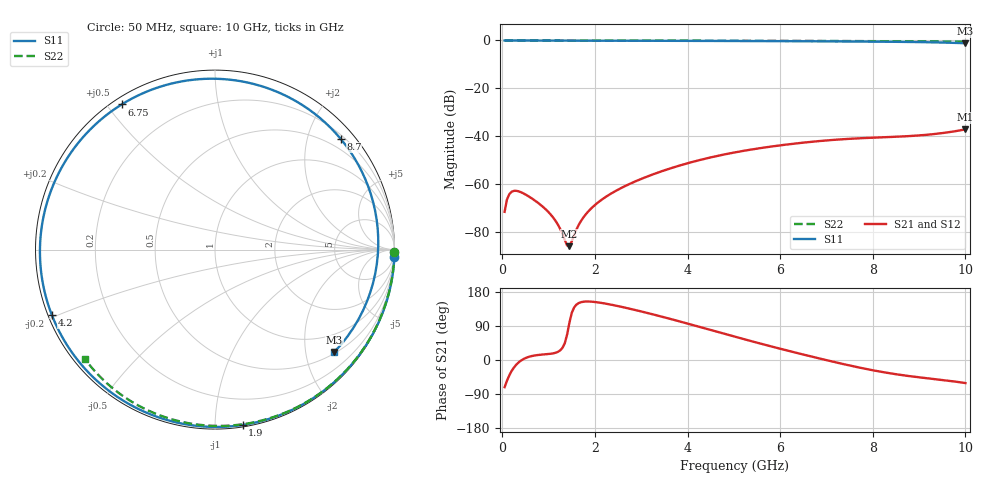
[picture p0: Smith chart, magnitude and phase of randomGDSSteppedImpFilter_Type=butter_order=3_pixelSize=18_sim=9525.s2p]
! freq	dB(S11)	phase(S11)	dB(S12)	phase(S12)
!  dB(S21)	phase(S21)	dB(S22)	phase(S22)
!S-par simulation data
#  GHz  S  DB  R 50
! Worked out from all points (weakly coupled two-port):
!   200 points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, 50 MHz to 10 GHz, reference 50 ohm
!   highest |S21| = -37.16 dB at 10 GHz (marker M1); lowest = -85.9 dB at 1.45 GHz (marker M2)
!   lowest |S11| = -1.1 dB at 10 GHz (marker M3), VSWR 15.16, Z = 26.5 - j130 ohm
!   |S11| at or under -10 dB: nowhere
!   |S22| runs from -0.5 to 0.0 dB; largest |S21 - S12| = 0
!   S11 on the Smith chart (normalised r, x): 50 MHz: 0, -50; 1.9 GHz: 0.01, -1.17; 4.2 GHz: 0.01, -0.19; 6.75 GHz: 0.03, +0.55; 8.7 GHz: 0.27, +2.63; 10 GHz: 0.53, -2.61
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0.05  -0.00 -2.3  -71.59 -71.6  -71.59 -71.6  -0.00 -0.8
0.1  -0.00 -4.6  -66.48 -54.9  -66.48 -54.9  -0.00 -1.6
0.15  -0.00 -6.8  -64.25 -40.8  -64.25 -40.8  -0.00 -2.4
0.35  -0.01 -15.9  -63.02 -6.6  -63.02 -6.6  -0.01 -5.7
0.9  -0.05 -40.2  -69.89 14.7  -69.89 14.7  -0.02 -14.5
1.3  -0.07 -57.1  -80.89 32.1  -80.89 32.1  -0.03 -20.9
1.45  -0.08 -63.3  -85.93 98.8  -85.93 98.8  -0.03 -23.2
1.6  -0.08 -69.3  -79.01 146.1  -79.01 146.1  -0.03 -25.6
1.75  -0.09 -75.2  -73.97 153.8  -73.97 153.8  -0.04 -27.9
1.9  -0.10 -81.0  -70.55 154.2  -70.55 154.2  -0.04 -30.3
2.5  -0.12 -103.1  -62.32 142.2  -62.32 142.2  -0.05 -39.6
3.4  -0.15 -133.3  -54.92 115.8  -54.92 115.8  -0.07 -53.1
4.2  -0.18 -158.1  -50.27 89.4  -50.27 89.4  -0.09 -64.8
5.05  -0.22 176.5  -46.66 60.5  -46.66 60.5  -0.12 -76.8
5.85  -0.27 152.1  -44.21 34.5  -44.21 34.5  -0.15 -87.7
6.7  -0.34 124.5  -42.29 8.4  -42.29 8.4  -0.19 -98.9
6.75  -0.34 122.8  -42.20 6.9  -42.20 6.9  -0.19 -99.6
7.6  -0.42 91.3  -40.97 -17.1  -40.97 -17.1  -0.25 -110.4
8.35  -0.53 58.7  -40.35 -34.6  -40.35 -34.6  -0.31 -119.8
8.7  -0.60 41.3  -40.04 -41.0  -40.04 -41.0  -0.34 -124.1
9.4  -0.82 1.2  -38.94 -51.3  -38.94 -51.3  -0.41 -132.7
10  -1.15 -40.6  -37.16 -60.9  -37.16 -60.9  -0.47 -140.1
